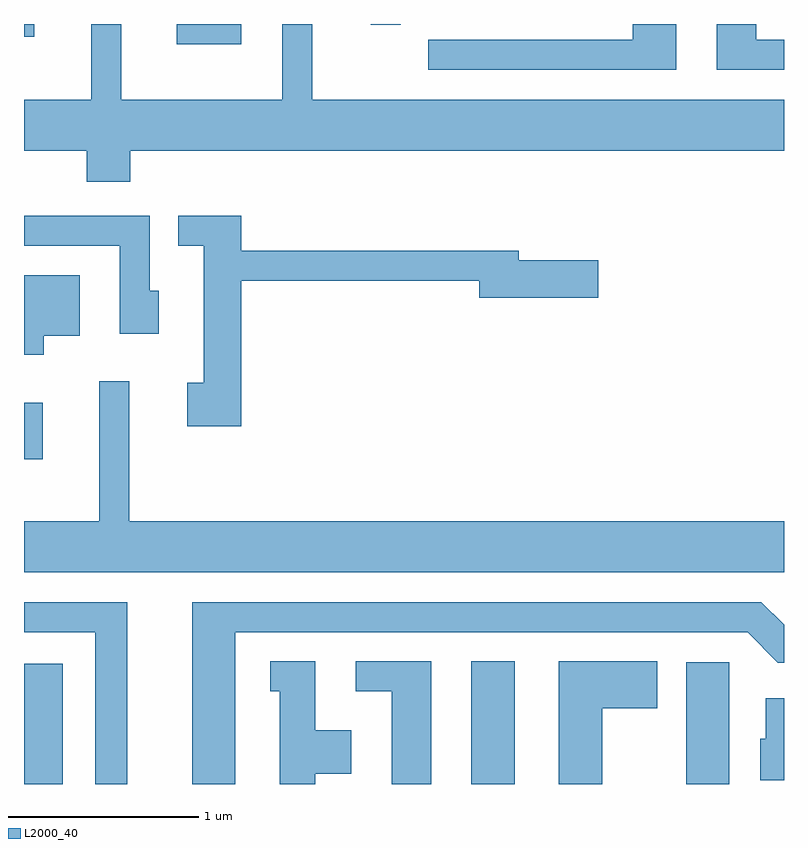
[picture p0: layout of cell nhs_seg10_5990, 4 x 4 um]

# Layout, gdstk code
import gdstk
lib = gdstk.Library(unit=1e-6, precision=1e-09)
def R(c, l, rs):  # rectangles x0, y0, x1, y1
    for r in rs: c.add(gdstk.rectangle(r[:2], r[2:], *l))
def P(c, l, *ps):  # polygons
    for p in ps: c.add(gdstk.Polygon(p, *l))
L2000_40 = (2000, 40)

nhs_seg10_5990 = lib.new_cell('nhs_seg10_5990')
R(nhs_seg10_5990, L2000_40, [(361.611,2170.522,361.814,2171.154), (363.966,2170.522,364.194,2171.169), (365.096,2170.522,365.324,2171.164), (361.611,2172.231,361.709,2172.529), (362.416,2174.416,362.754,2174.522), (361.611,2174.456,361.664,2174.522), (363.436,2174.518,363.594,2174.522)])
P(nhs_seg10_5990, L2000_40, [(362.169,2173.856),(365.611,2173.856),(365.611,2174.124),(363.129,2174.124),(363.129,2174.522),(362.971,2174.522),(362.971,2174.124),(362.124,2174.124),(362.124,2174.522),(361.966,2174.522),(361.966,2174.124),(361.611,2174.124),(361.611,2173.856),(361.941,2173.856),(361.941,2173.691),(362.169,2173.691)],
  [(365.611,2174.439),(365.464,2174.439),(365.464,2174.522),(365.256,2174.522),(365.256,2174.281),(365.611,2174.281)],
  [(365.044,2174.522),(364.816,2174.522),(364.816,2174.439),(363.738,2174.439),(363.738,2174.281),(365.044,2174.281)],
  [(362.754,2173.171),(364.006,2173.171),(364.006,2173.081),(364.634,2173.081),(364.634,2173.279),(364.214,2173.279),(364.214,2173.329),(362.754,2173.329),(362.754,2173.514),(362.423,2173.514),(362.423,2173.356),(362.556,2173.356),(362.556,2172.634),(362.471,2172.634),(362.471,2172.406),(362.754,2172.406)],
  [(362.319,2173.119),(362.274,2173.119),(362.274,2173.514),(361.611,2173.514),(361.611,2173.356),(362.116,2173.356),(362.116,2172.891),(362.319,2172.891)],
  [(361.714,2172.881),(361.904,2172.881),(361.904,2173.199),(361.611,2173.199),(361.611,2172.781),(361.714,2172.781)],
  [(365.611,2171.904),(362.164,2171.904),(362.164,2172.643),(362.006,2172.643),(362.006,2171.904),(361.611,2171.904),(361.611,2171.636),(365.611,2171.636)],
  [(362.154,2171.479),(361.611,2171.479),(361.611,2171.321),(361.986,2171.321),(361.986,2170.522),(362.154,2170.522)],
  [(362.724,2171.321),(365.419,2171.321),(365.579,2171.161),(365.611,2171.161),(365.611,2171.36),(365.492,2171.479),(362.496,2171.479),(362.496,2170.522),(362.724,2170.522)],
  [(363.144,2170.576),(363.334,2170.576),(363.334,2170.804),(363.144,2170.804),(363.144,2171.169),(362.908,2171.169),(362.908,2171.011),(362.956,2171.011),(362.956,2170.522),(363.144,2170.522)],
  [(363.754,2171.169),(363.358,2171.169),(363.358,2171.011),(363.546,2171.011),(363.546,2170.522),(363.754,2170.522)],
  [(364.654,2170.921),(364.944,2170.921),(364.944,2171.169),(364.426,2171.169),(364.426,2170.522),(364.654,2170.522)],
  [(365.611,2170.974),(365.516,2170.974),(365.516,2170.759),(365.486,2170.759),(365.486,2170.541),(365.611,2170.541)])

lib.write_gds('nhs_seg10_5990.gds')
